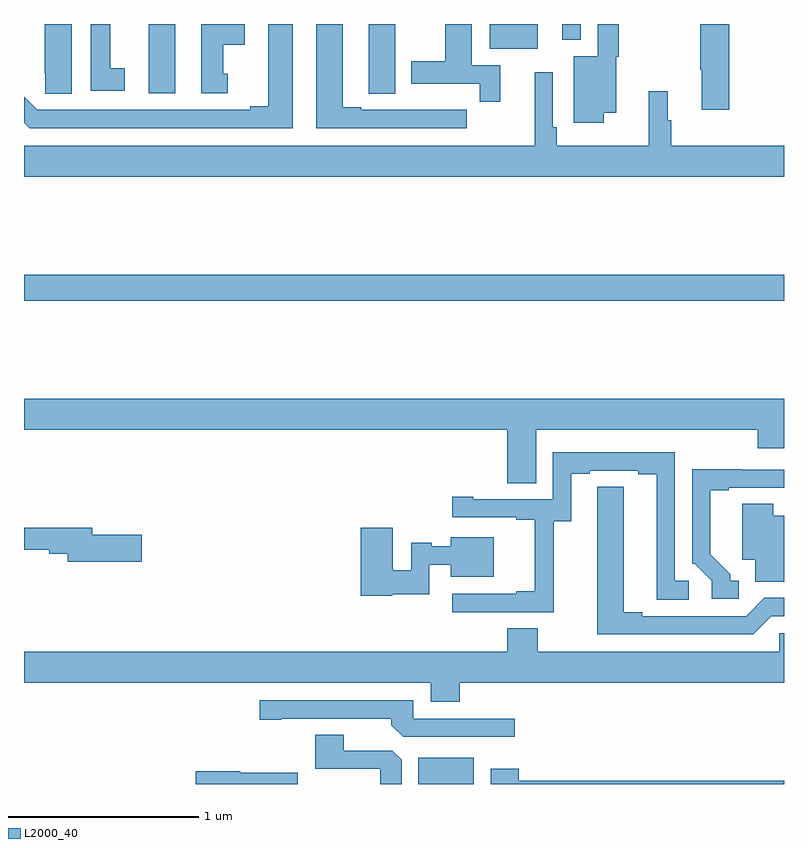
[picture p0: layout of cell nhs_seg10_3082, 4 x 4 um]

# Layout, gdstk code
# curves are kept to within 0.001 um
import gdstk
lib = gdstk.Library(unit=1e-6, precision=1e-09)
def R(c, l, rs):  # rectangles x0, y0, x1, y1
    for r in rs: c.add(gdstk.rectangle(r[:2], r[2:], *l))
def P(c, l, *ps):  # polygons
    for p in ps: c.add(gdstk.Polygon(p, *l))
L2000_40 = (2000, 40)

nhs_seg10_3082 = lib.new_cell('nhs_seg10_3082')
R(nhs_seg10_3082, L2000_40, [(281.075,1250.5,281.368,1250.638), (279,1253.044,283,1253.18), (279.656,1254.135,279.796,1254.5), (281.45,1254.371,281.704,1254.5), (281.834,1254.416,281.931,1254.5)])
P(nhs_seg10_3082, L2000_40, [(280.414,1254.5),(280.286,1254.5),(280.286,1254.068),(280.19,1254.068),(280.19,1254.048),(279.069,1254.048),(279,1254.117),(279,1253.981),(279.029,1253.952),(280.414,1253.952)],
  [(281.329,1254.048),(281.216,1254.048),(281.216,1254.049),(281.05,1254.049),(281.05,1254.048),(280.774,1254.048),(280.774,1254.063),(280.678,1254.063),(280.678,1254.5),(280.538,1254.5),(280.538,1253.952),(281.329,1253.952)],
  [(282.052,1254.032),(282.118,1254.032),(282.118,1254.327),(282.13,1254.327),(282.13,1254.5),(282.021,1254.5),(282.021,1254.331),(281.894,1254.331),(281.894,1253.979),(282.052,1253.979)],
  [(282.713,1254.5),(282.559,1254.5),(282.559,1254.26),(282.566,1254.26),(282.566,1254.048),(282.713,1254.048)],
  [(280.954,1254.5),(280.814,1254.5),(280.814,1254.241),(280.815,1254.241),(280.815,1254.133),(280.954,1254.133)],
  [(281.507,1254.282),(281.356,1254.282),(281.356,1254.5),(281.216,1254.5),(281.216,1254.303),(281.039,1254.303),(281.039,1254.186),(281.398,1254.186),(281.398,1254.09),(281.507,1254.09)],
  [(280.072,1254.237),(280.048,1254.237),(280.048,1254.392),(280.162,1254.392),(280.162,1254.5),(279.932,1254.5),(279.932,1254.135),(280.072,1254.135)],
  [(279.529,1254.266),(279.454,1254.266),(279.454,1254.5),(279.35,1254.5),(279.35,1254.15),(279.529,1254.15)],
  [(279.25,1254.5),(279.11,1254.5),(279.11,1254.241),(279.111,1254.241),(279.111,1254.133),(279.25,1254.133)],
  [(283,1253.86),(282.407,1253.86),(282.407,1253.994),(282.388,1253.994),(282.388,1254.145),(282.289,1254.145),(282.289,1253.86),(281.804,1253.86),(281.804,1253.956),(281.784,1253.956),(281.784,1254.247),(281.687,1254.247),(281.687,1253.86),(279,1253.86),(279,1253.696),(283,1253.696)],
  [(281.695,1252.364),(282.863,1252.364),(282.863,1252.266),(283,1252.266),(283,1252.528),(279,1252.528),(279,1252.364),(281.543,1252.364),(281.543,1252.084),(281.695,1252.084)],
  [(281.787,1251.883),(281.881,1251.883),(281.881,1252.134),(281.977,1252.134),(281.977,1252.149),(282.233,1252.149),(282.233,1252.129),(282.329,1252.129),(282.329,1251.469),(282.499,1251.469),(282.499,1251.57),(282.426,1251.57),(282.426,1252.245),(281.784,1252.245),(281.784,1251.999),(281.365,1251.999),(281.365,1252.012),(281.253,1252.012),(281.253,1251.903),(281.591,1251.903),(281.591,1251.891),(281.687,1251.891),(281.687,1251.514),(281.591,1251.514),(281.591,1251.501),(281.253,1251.501),(281.253,1251.405),(281.787,1251.405)],
  [(282.763,1251.57),(282.718,1251.57),(282.718,1251.605),(282.613,1251.71),(282.613,1252.047),(282.709,1252.047),(282.709,1252.059),(283,1252.058),(283,1252.155),(282.779,1252.155),(282.779,1252.157),(282.516,1252.157),(282.516,1251.66),(282.531,1251.66),(282.621,1251.57),(282.621,1251.474),(282.763,1251.474)],
  [(282.933,1251.384),(283,1251.384),(283,1251.48),(282.897,1251.48),(282.801,1251.384),(282.253,1251.384),(282.253,1251.404),(282.157,1251.404),(282.157,1252.064),(282.018,1252.064),(282.017,1251.288),(282.837,1251.288)],
  [(283,1251.913),(282.943,1251.913),(282.943,1251.974),(282.779,1251.974),(282.779,1251.68),(282.848,1251.68),(282.848,1251.565),(283,1251.565)],
  [(280.938,1251.498),(281.133,1251.498),(281.133,1251.653),(281.246,1251.653),(281.246,1251.59),(281.473,1251.59),(281.473,1251.799),(281.246,1251.799),(281.246,1251.751),(281.145,1251.751),(281.145,1251.77),(281.037,1251.77),(281.037,1251.626),(280.942,1251.626),(280.942,1251.85),(280.772,1251.85),(280.772,1251.49),(280.938,1251.49)],
  [(279.619,1251.812),(279.358,1251.812),(279.358,1251.848),(279,1251.848),(279,1251.732),(279.134,1251.732),(279.134,1251.712),(279.23,1251.712),(279.23,1251.67),(279.619,1251.67)],
  [(281.294,1251.032),(283,1251.032),(283,1251.294),(282.975,1251.294),(282.975,1251.196),(281.703,1251.196),(281.703,1251.32),(281.543,1251.32),(281.543,1251.196),(279,1251.196),(279,1251.032),(281.141,1251.032),(281.141,1250.933),(281.294,1250.933)],
  [(281.584,1250.844),(281.049,1250.844),(281.049,1250.94),(280.242,1250.94),(280.242,1250.839),(280.354,1250.839),(280.354,1250.844),(280.934,1250.844),(280.934,1250.81),(280.995,1250.748),(281.584,1250.748)],
  [(280.987,1250.627),(280.938,1250.676),(280.684,1250.676),(280.684,1250.759),(280.532,1250.759),(280.532,1250.58),(280.875,1250.58),(280.875,1250.5),(280.987,1250.5)],
  [(283,1250.516),(281.603,1250.516),(281.603,1250.581),(281.456,1250.581),(281.456,1250.5),(283,1250.5)],
  [(280.441,1250.56),(280.137,1250.56),(280.137,1250.568),(279.903,1250.568),(279.903,1250.5),(280.441,1250.5)])

lib.write_gds('nhs_seg10_3082.gds')
